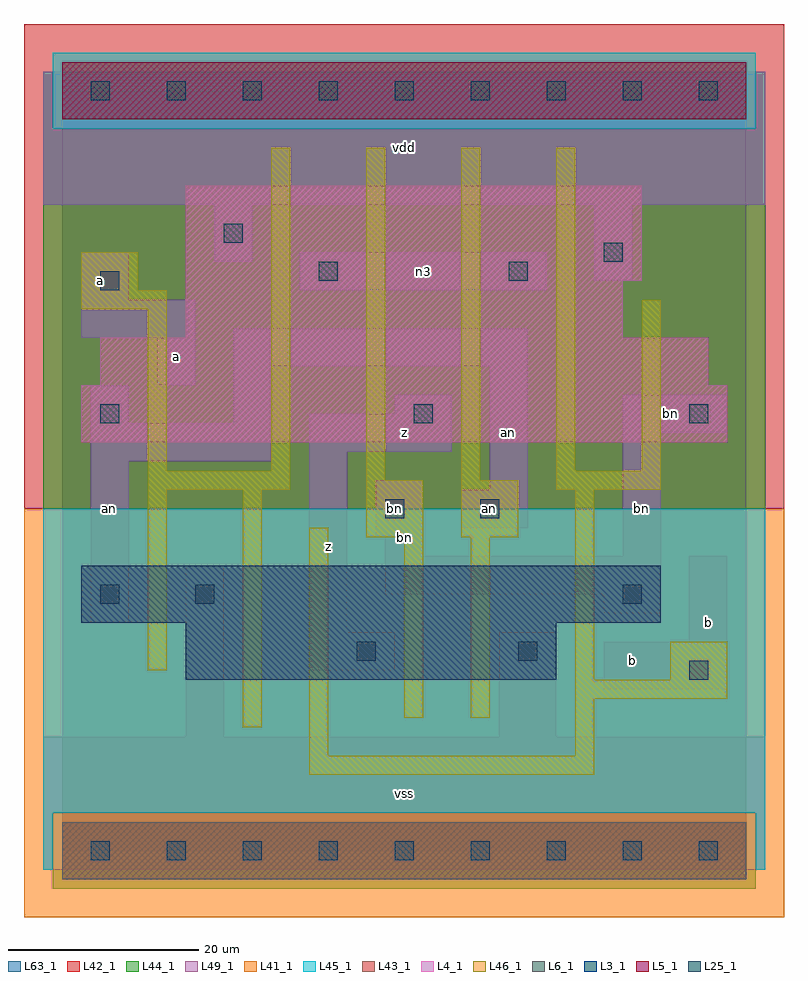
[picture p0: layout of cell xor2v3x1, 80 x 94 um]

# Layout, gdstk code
import gdstk
lib = gdstk.Library(unit=1e-6, precision=1e-09)
def R(c, l, rs):  # rectangles x0, y0, x1, y1
    for r in rs: c.add(gdstk.rectangle(r[:2], r[2:], *l))
def A(c, l, x, y, w, h, nx, ny, dx, dy):  # array of equal rectangles
    R(c, l, [(x+i*dx, y+j*dy, x+i*dx+w, y+j*dy+h) for i in range(nx) for j in range(ny)])
L3_1 = (3, 1)
L4_1 = (4, 1)
L5_1 = (5, 1)
L6_1 = (6, 1)
L25_1 = (25, 1)
L41_1 = (41, 1)
L42_1 = (42, 1)
L43_1 = (43, 1)
L44_1 = (44, 1)
L45_1 = (45, 1)
L46_1 = (46, 1)
L49_1 = (49, 1)
L63_1 = (63, 1)

xor2v3x1 = lib.new_cell('xor2v3x1')
R(xor2v3x1, L3_1, [(13,18,52,24), (2,24,63,30)])
R(xor2v3x1, L4_1, [(2,43,70,49), (4,49,68,54), (13,54,59,60), (13,60,61,70)])
R(xor2v3x1, L5_1, [(0,77,72,83)])
R(xor2v3x1, L6_1, [(0,-3,72,3), (0,-3,72,3)])
A(xor2v3x1, L25_1, 3, -1, 2, 2, 9, 2, 8, 80)
R(xor2v3x1, L25_1, [(66,18,68,20), (31,20,33,22), (48,20,50,22), (4,26,6,28), (14,26,16,28), (59,26,61,28), (34,35,36,37), (44,35,46,37), (4,45,6,47), (37,45,39,47), (66,45,68,47), (4,59,6,61), (27,60,29,62), (47,60,49,62), (57,62,59,64), (17,64,19,66)])
R(xor2v3x1, L41_1, [(-4,-7,76,36)])
R(xor2v3x1, L42_1, [(-4,36,76,87)])
R(xor2v3x1, L43_1, [(0,-3,72,3), (13,18,52,24), (2,24,63,30), (2,43,70,49), (4,49,68,54), (13,54,59,60), (13,60,61,70), (0,77,72,83)])
R(xor2v3x1, L44_1, [(-1,-4,73,4), (-2,36,74,76), (-2,76,-1,82), (73,76,74,82)])
R(xor2v3x1, L45_1, [(-2,-2,-1,4), (73,-2,74,4), (-2,4,74,36), (-1,76,73,84)])
R(xor2v3x1, L46_1, [(26,8,56,10), (26,10,28,34), (54,10,56,16), (19,13,21,38), (36,14,38,33), (43,14,45,33), (54,16,70,18), (54,18,56,38), (64,18,70,22), (9,19,11,38), (32,33,38,39), (42,33,48,39), (9,38,24,40), (52,38,63,40), (32,39,34,74), (42,39,44,74), (9,40,11,57), (22,40,24,74), (52,40,54,74), (61,40,63,58), (2,57,11,59), (2,59,8,63)])
R(xor2v3x1, L49_1, [(-2,-2,74,12), (13,12,17,30), (46,12,52,23), (57,17,70,22), (26,19,35,23), (66,22,70,31), (26,23,30,42), (3,24,7,41), (57,25,63,27), (34,27,63,31), (34,31,38,33), (59,31,63,44), (33,33,38,39), (42,34,49,38), (45,38,49,51), (3,41,22,45), (26,42,41,46), (59,44,70,48), (3,45,7,49), (18,45,22,51), (35,46,41,48), (10,49,14,54), (18,51,49,55), (2,54,14,58), (2,58,7,63), (25,59,51,63), (56,60,60,68), (16,62,20,68), (-2,68,74,82)])
R(xor2v3x1, L63_1, [(0,0,72,80)])
xor2v3x1.add(gdstk.Label('bn', (35,36), layer=49, texttype=1))
xor2v3x1.add(gdstk.Label('an', (45,36), layer=49, texttype=1))
xor2v3x1.add(gdstk.Label('an', (5,36), layer=49, texttype=1))
xor2v3x1.add(gdstk.Label('a', (4,60), layer=49, texttype=1))
xor2v3x1.add(gdstk.Label('a', (12,52), layer=49, texttype=1))
xor2v3x1.add(gdstk.Label('vss', (36,6), layer=49, texttype=1))
xor2v3x1.add(gdstk.Label('bn', (36,33), layer=49, texttype=1))
xor2v3x1.add(gdstk.Label('z', (28,32), layer=49, texttype=1))
xor2v3x1.add(gdstk.Label('z', (36,44), layer=49, texttype=1))
xor2v3x1.add(gdstk.Label('vdd', (36,74), layer=49, texttype=1))
xor2v3x1.add(gdstk.Label('an', (47,44), layer=49, texttype=1))
xor2v3x1.add(gdstk.Label('n3', (38,61), layer=49, texttype=1))
xor2v3x1.add(gdstk.Label('b', (60,20), layer=49, texttype=1))
xor2v3x1.add(gdstk.Label('b', (68,24), layer=49, texttype=1))
xor2v3x1.add(gdstk.Label('bn', (64,46), layer=49, texttype=1))
xor2v3x1.add(gdstk.Label('bn', (61,36), layer=49, texttype=1))

lib.write_gds('xor2v3x1.gds')
